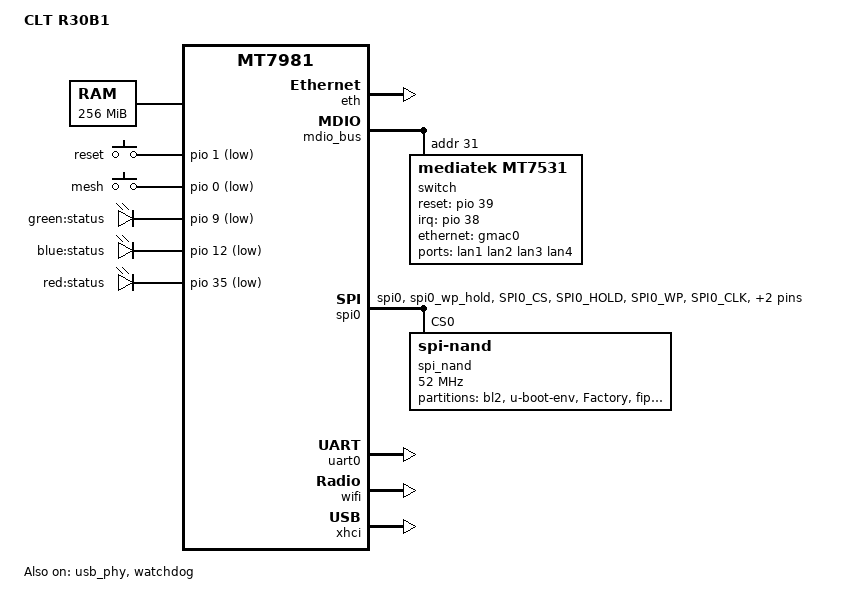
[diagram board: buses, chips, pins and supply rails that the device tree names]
// SPDX-License-Identifier: GPL-2.0-or-later OR MIT

/dts-v1/;
#include <dt-bindings/gpio/gpio.h>
#include <dt-bindings/input/input.h>
#include <dt-bindings/leds/common.h>

#include "mt7981b-clt-r30b1.dts"

/ {
	model = "CLT R30B1";
	compatible = "clt,r30b1-112m", "mediatek,mt7981";

	aliases {
		label-mac-device = &gmac1;
		led-boot = &led_status_red;
		led-failsafe = &led_status_red;
		led-running = &led_status_green;
		led-upgrade = &led_status_green;
		serial0 = &uart0;
	};

	chosen {
		stdout-path = "serial0:115200n8";
		bootargs-override = "root=/dev/fit0 rootwait";
	};

	memory {
		reg = <0 0x40000000 0 0x10000000>;
	};

	gpio-keys {
		compatible = "gpio-keys";

		reset {
			label = "reset";
			linux,code = <KEY_RESTART>;
			gpios = <&pio 1 GPIO_ACTIVE_LOW>;
		};

		mesh {
			label = "mesh";
			linux,code = <BTN_9>;
			linux,input-type = <EV_SW>;
			gpios = <&pio 0 GPIO_ACTIVE_LOW>;
		};
	};

	gpio-leds {
		compatible = "gpio-leds";

		led_status_green: led-0 {
			label = "green:status";
			gpios = <&pio 9 GPIO_ACTIVE_LOW>;
		};

		led-1 {
			label = "blue:status";
			gpios = <&pio 12 GPIO_ACTIVE_LOW>;
		};

		led_status_red: led-2 {
			label = "red:status";
			gpios = <&pio 35 GPIO_ACTIVE_LOW>;
		};
	};
};

&eth {
	status = "okay";

	gmac0: mac@0 {
		compatible = "mediatek,eth-mac";
		reg = <0>;
		phy-mode = "2500base-x";

		nvmem-cells = <&macaddr_factory_24 1>;  // ← 改为 mac-base 偏移方式
		nvmem-cell-names = "mac-address";

		fixed-link {
			speed = <2500>;
			full-duplex;
			pause;
		};
	};

	gmac1: mac@1 {
		compatible = "mediatek,eth-mac";
		reg = <1>;
		phy-mode = "gmii";
		phy-handle = <&int_gbe_phy>;

		nvmem-cells = <&macaddr_factory_24 0>;  // ← 改为 mac-base 偏移方式
		nvmem-cell-names = "mac-address";
	};
};

&mdio_bus {
	switch: switch@1f {
		compatible = "mediatek,mt7531";
		reg = <31>;
		reset-gpios = <&pio 39 GPIO_ACTIVE_HIGH>;
		interrupt-controller;
		#interrupt-cells = <1>;
		interrupt-parent = <&pio>;
		interrupts = <38 IRQ_TYPE_LEVEL_HIGH>;
	};
};

&switch {
	ports {
		#address-cells = <1>;
		#size-cells = <0>;

		port@0 {
			reg = <0>;
			label = "lan1";
		};

		port@1 {
			reg = <1>;
			label = "lan2";
		};

		port@2 {
			reg = <2>;
			label = "lan3";
		};

		port@3 {
			reg = <3>;
			label = "lan4";
		};

		port@6 {
			reg = <6>;
			ethernet = <&gmac0>;
			phy-mode = "2500base-x";

			fixed-link {
				speed = <2500>;
				full-duplex;
				pause;
			};
		};
	};
};

&pio {
	spi0_flash_pins: spi0-pins {
		mux {
			function = "spi";
			groups = "spi0", "spi0_wp_hold";
		};

		conf-pu {
			pins = "SPI0_CS", "SPI0_HOLD", "SPI0_WP";
			drive-strength = <8>;
			mediatek,pull-up-adv = <0>; /* bias-disable */
		};

		conf-pd {
			pins = "SPI0_CLK", "SPI0_MOSI", "SPI0_MISO";
			drive-strength = <8>;
			mediatek,pull-up-adv = <0>; /* bias-disable */
		};
	};
};

&spi0 {
	pinctrl-names = "default";
	pinctrl-0 = <&spi0_flash_pins>;
	status = "okay";

	spi_nand: flash@0 {
		compatible = "spi-nand";
		#address-cells = <1>;
		#size-cells = <1>;
		reg = <0>;

		spi-max-frequency = <52000000>;
		spi-tx-bus-width = <4>;
		spi-rx-bus-width = <4>;
		mediatek,nmbm;
		mediatek,bmt-max-ratio = <1>;
		mediatek,bmt-max-reserved-blocks = <64>;

		partitions {
			compatible = "fixed-partitions";
			#address-cells = <1>;
			#size-cells = <1>;

			partition@0 {
				label = "bl2";
				reg = <0x00000 0x0100000>;

			};

			partition@100000 {
				label = "u-boot-env";
				reg = <0x100000 0x80000>;
			};

			factory: partition@180000 {
				label = "Factory";  // ← 改为大写
				reg = <0x180000 0x200000>;


				nvmem-layout {
					compatible = "fixed-layout";
					#address-cells = <1>;
					#size-cells = <1>;

					// ← 添加 EEPROM 定义
					eeprom_factory_0: eeprom@0 {
						reg = <0x0 0x1000>;
					};

					// ← 改为 mac-base 方式,但保持 0x24 偏移
					macaddr_factory_24: macaddr@24 {
						compatible = "mac-base";  // ← 添加
						reg = <0x24 0x6>;
						#nvmem-cell-cells = <1>;  // ← 添加
					};

					// ← 删除 macaddr@2a (不再需要)
				};
			};

			partition@380000 {
				label = "fip";
				reg = <0x380000 0x200000>;

			};

			partition@580000 {
				label = "ubi";
				reg = <0x580000 0x7000000>;
			};
		};
	};
};

&uart0 {
	status = "okay";
};

&usb_phy {
	status = "okay";
};

&watchdog {
	status = "okay";
};

&wifi {
	status = "okay";
	// ← 改为新方式
	nvmem-cells = <&eeprom_factory_0>, <&macaddr_factory_24 2>;
	nvmem-cell-names = "eeprom", "mac-address";
};

&xhci {
	status = "okay";
};
